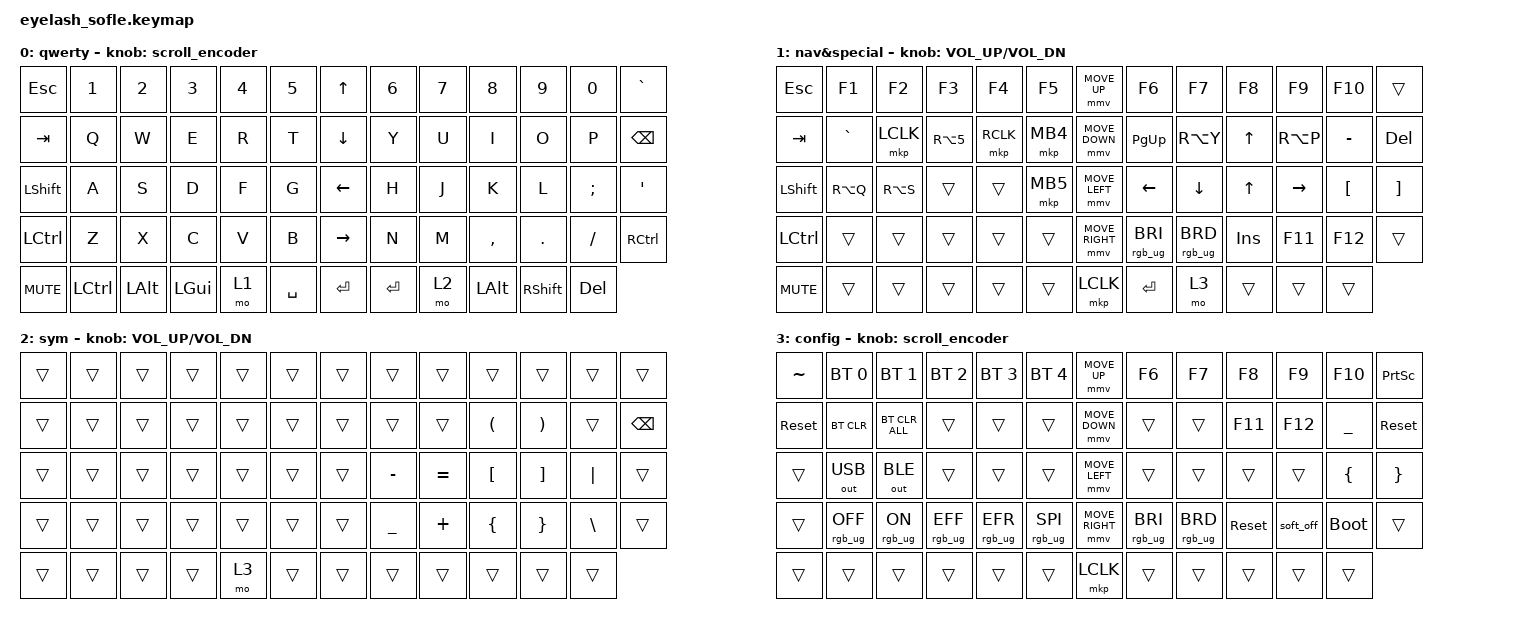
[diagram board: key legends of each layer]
#define ZMK_POINTING_DEFAULT_MOVE_VAL 1200  // 600
#define ZMK_POINTING_DEFAULT_SCRL_VAL 25   // 10

#include <input/processors.dtsi>
#include <zephyr/dt-bindings/input/input-event-codes.h>
#include <behaviors.dtsi>
#include <dt-bindings/zmk/bt.h>
#include <dt-bindings/zmk/ext_power.h>
#include <dt-bindings/zmk/keys.h>
#include <dt-bindings/zmk/pointing.h>
#include <dt-bindings/zmk/rgb.h>
#include <dt-bindings/zmk/outputs.h>

&mmv_input_listener { input-processors = <&zip_xy_scaler 2 1>; };

&msc_input_listener { input-processors = <&zip_scroll_scaler 2 1>; };

&msc {
    acceleration-exponent = <1>;      // 0
    time-to-max-speed-ms = <100>;       // 300
    delay-ms = <0>;                   // 0
};

&mmv {
    time-to-max-speed-ms = <400>;
    acceleration-exponent = <1>;
    trigger-period-ms = <16>;
};


/ {

    scroll_encoder: scroll_encoder {
        compatible = "zmk,behavior-sensor-rotate";
        #sensor-binding-cells = <0>;
        bindings = <&msc SCRL_DOWN>, <&msc SCRL_UP>;
        tap-ms = <100>;
    };

    keymap {
        compatible = "zmk,keymap";

        layer0 {
            bindings = <
&kp ESC     &kp N1     &kp N2        &kp N3        &kp N4  &kp N5       &kp UP_ARROW     &kp N6     &kp N7     &kp N8     &kp N9           &kp N0      &kp GRAVE
&kp TAB     &kp Q      &kp W         &kp E         &kp R   &kp T        &kp DOWN_ARROW   &kp Y      &kp U      &kp I      &kp O            &kp P       &kp BACKSPACE
&kp LSHFT   &kp A      &kp S         &kp D         &kp F   &kp G        &kp LEFT_ARROW   &kp H      &kp J      &kp K      &kp L            &kp SEMI    &kp APOS
&kp LCTRL   &kp Z      &kp X         &kp C         &kp V   &kp B        &kp RIGHT_ARROW  &kp N      &kp M      &kp COMMA  &kp DOT          &kp FSLH    &kp RCTRL
&kp C_MUTE  &kp LCTRL  &kp LEFT_ALT  &kp LEFT_GUI  &mo 1   &kp SPACE    &kp ENTER        &kp ENTER  &mo 2   &kp LEFT_ALT &kp RIGHT_SHIFT  &kp DELETE
            >;
            
            sensor-bindings = <&scroll_encoder>;
            display-name = "qwerty";
        };

        layer_1 {
            bindings = <
&kp ESC     &kp F1           &kp F2          &kp F3           &kp F4           &kp F5         &mmv MOVE_UP     &kp F6           &kp F7           &kp F8      &kp F9     &kp F10           &trans
&kp TAB     &kp GRAVE        &mkp LCLK       &kp RA(5)        &mkp RCLK        &mkp MB4       &mmv MOVE_DOWN   &kp PG_UP        &kp RA(Y)        &kp UP      &kp RA(P)  &kp MINUS         &kp DELETE
&kp LSHFT   &kp RA(Q)        &kp RA(S)       &trans           &trans           &mkp MB5       &mmv MOVE_LEFT   &kp LEFT         &kp DOWN         &kp UP      &kp RIGHT  &kp LEFT_BRACKET  &kp RIGHT_BRACKET
&kp LCTRL   &trans           &trans          &trans           &trans           &trans         &mmv MOVE_RIGHT  &rgb_ug RGB_BRI  &rgb_ug RGB_BRD  &kp INSERT  &kp F11    &kp F12           &trans
&kp C_MUTE  &trans           &trans          &trans           &trans           &trans         &mkp LCLK        &kp ENTER        &mo 3          &trans      &trans     &trans
            >;

            display-name = "nav&special";
            sensor-bindings = <&inc_dec_kp C_VOLUME_UP C_VOL_DN>;
        };

        layer_2 {
            bindings = <
&trans  &trans  &trans  &trans  &trans      &trans          &trans        &trans     &trans     &trans    &trans    &trans    &trans
&trans  &trans  &trans  &trans  &trans      &trans          &trans        &trans     &trans     &kp LPAR  &kp RPAR  &trans    &kp BACKSPACE
&trans  &trans  &trans  &trans  &trans      &trans          &trans        &kp MINUS  &kp EQUAL  &kp LBKT  &kp RBKT  &kp PIPE  &trans
&trans  &trans  &trans  &trans  &trans      &trans          &trans        &kp UNDER  &kp PLUS   &kp LBRC  &kp RBRC  &kp BSLH  &trans
&trans  &trans  &trans  &trans  &mo 3       &trans          &trans        &trans     &trans     &trans    &trans    &trans
            >;

            display-name = "sym";
            sensor-bindings = <&inc_dec_kp C_VOLUME_UP C_VOL_DN>;
        };

        layer_3 {
            bindings = <
&kp TILDE  &bt BT_SEL 0     &bt BT_SEL 1    &bt BT_SEL 2     &bt BT_SEL 3     &bt BT_SEL 4    &mmv MOVE_UP     &kp F6           &kp F7              &kp F8      &kp F9     &kp F10      &kp PSCRN
&sys_reset &bt BT_CLR       &bt BT_CLR_ALL  &trans           &trans           &trans          &mmv MOVE_DOWN   &trans           &trans              &kp F11     &kp F12    &kp UNDER    &sys_reset
&trans     &out OUT_USB     &out OUT_BLE    &trans           &trans           &trans          &mmv MOVE_LEFT   &trans           &trans              &trans      &trans     &kp LBRC     &kp RBRC
&trans     &rgb_ug RGB_OFF  &rgb_ug RGB_ON  &rgb_ug RGB_EFF  &rgb_ug RGB_EFR  &rgb_ug RGB_SPI &mmv MOVE_RIGHT  &rgb_ug RGB_BRI  &rgb_ug RGB_BRD     &sys_reset  &soft_off  &bootloader  &trans
&trans     &trans           &trans          &trans           &trans           &trans          &mkp LCLK        &trans           &trans              &trans      &trans     &trans
            >;

            display-name = "config";
            sensor-bindings = <&scroll_encoder>;
        };
    };
};
